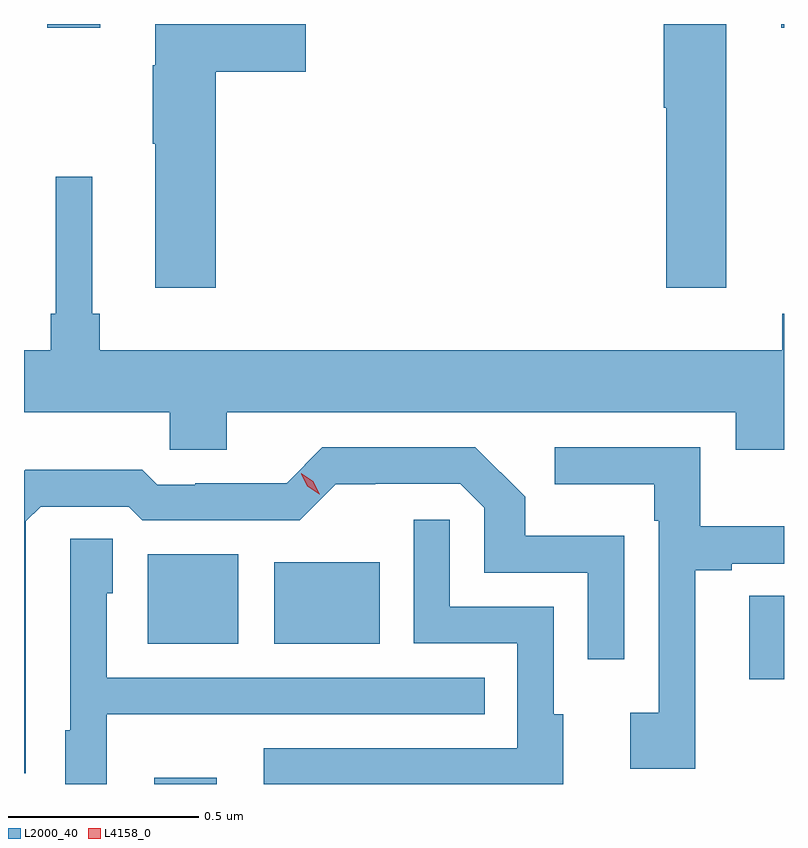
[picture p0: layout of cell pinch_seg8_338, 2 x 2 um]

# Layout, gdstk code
import gdstk
lib = gdstk.Library(unit=1e-6, precision=1e-09)
def R(c, l, rs):  # rectangles x0, y0, x1, y1
    for r in rs: c.add(gdstk.rectangle(r[:2], r[2:], *l))
def P(c, l, *ps):  # polygons
    for p in ps: c.add(gdstk.Polygon(p, *l))
L2000_40 = (2000, 40)
L4158_0 = (4158, 0)

pinch_seg8_338 = lib.new_cell('pinch_seg8_338')
R(pinch_seg8_338, L2000_40, [(396.659,1123.514,396.823,1123.531), (398.225,1123.79,398.316,1124.009), (396.641,1123.883,396.88,1124.119), (396.974,1123.883,397.252,1124.098), (396.377,1125.504,396.517,1125.514), (398.309,1125.504,398.316,1125.514)])
P(pinch_seg8_338, L2000_40, [(398.164,1125.514),(398,1125.514),(398,1125.294),(398.006,1125.294),(398.006,1124.82),(398.164,1124.82)],
  [(396.821,1125.389),(397.057,1125.389),(397.057,1125.514),(396.662,1125.514),(396.662,1125.405),(396.655,1125.405),(396.655,1125.199),(396.662,1125.199),(396.662,1124.82),(396.821,1124.82)],
  [(398.316,1124.752),(398.311,1124.752),(398.311,1124.656),(396.515,1124.656),(396.515,1124.752),(396.496,1124.752),(396.496,1125.112),(396.399,1125.112),(396.399,1124.752),(396.386,1124.752),(396.386,1124.656),(396.316,1124.656),(396.316,1124.492),(396.7,1124.492),(396.7,1124.394),(396.85,1124.394),(396.85,1124.492),(398.189,1124.492),(398.189,1124.393),(398.316,1124.393)],
  [(398.083,1124.076),(398.179,1124.076),(398.179,1124.094),(398.316,1124.094),(398.316,1124.192),(398.095,1124.192),(398.095,1124.4),(397.713,1124.4),(397.713,1124.303),(397.974,1124.303),(397.974,1124.207),(397.986,1124.207),(397.986,1123.702),(397.911,1123.702),(397.911,1123.554),(398.083,1123.554)],
  [(396.321,1124.205),(396.36,1124.244),(396.591,1124.244),(396.627,1124.208),(397.041,1124.208),(397.136,1124.303),(397.24,1124.303),(397.24,1124.304),(397.464,1124.304),(397.527,1124.241),(397.527,1124.07),(397.8,1124.07),(397.8,1123.842),(397.896,1123.842),(397.896,1124.167),(397.635,1124.167),(397.635,1124.27),(397.504,1124.4),(397.101,1124.4),(397.007,1124.306),(396.766,1124.306),(396.766,1124.301),(396.666,1124.301),(396.627,1124.341),(396.319,1124.341),(396.316,1124.338),(396.316,1123.542),(396.321,1123.542)],
  [(397.735,1123.698),(397.71,1123.698),(397.71,1123.98),(397.437,1123.98),(397.437,1124.209),(397.341,1124.209),(397.341,1123.884),(397.614,1123.884),(397.614,1123.608),(396.947,1123.608),(396.947,1123.514),(397.735,1123.514)],
  [(396.534,1123.697),(396.851,1123.697),(396.851,1123.698),(397.529,1123.698),(397.529,1123.794),(396.534,1123.794),(396.534,1124.016),(396.55,1124.016),(396.55,1124.159),(396.438,1124.159),(396.438,1123.656),(396.425,1123.656),(396.425,1123.514),(396.534,1123.514)])
P(pinch_seg8_338, L4158_0, [(397.093,1124.277),(397.062,1124.298),(397.046,1124.331),(397.046,1124.332),(397.046,1124.332),(397.077,1124.311),(397.094,1124.277),(397.094,1124.277)])

lib.write_gds('pinch_seg8_338.gds')
